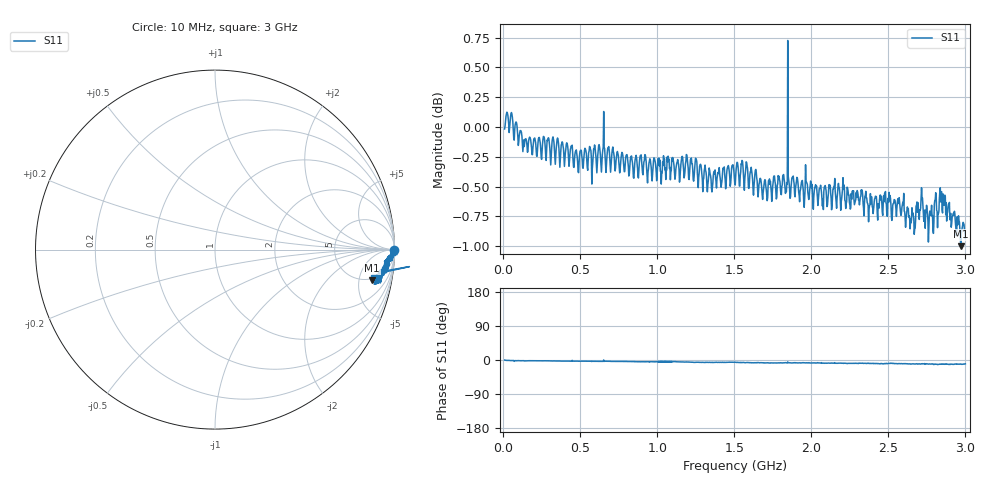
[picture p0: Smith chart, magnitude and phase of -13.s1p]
# HZ S RI R 50
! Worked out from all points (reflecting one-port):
!   1010 points, 10 MHz to 3 GHz, reference 50 ohm
!   lowest |S11| = -1.0 dB at 2.97 GHz (marker M1), VSWR 17.40, Z = 230 - j381 ohm
!   phase of S11 starts at -0 deg and turns -10 deg over the sweep
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1e7  0.9981 -0.00293
4.259663e7  0.9995 -0.0216
8.704658e7  1.004 -0.0334
1.433498e8  0.9874 -0.0409
3.863429e8  0.9837 -0.0485
7.597225e8  0.9581 -0.0623
9.019623e8  0.9592 -0.0781
1.133102e9  0.9661 -0.0753
1.296085e9  0.9341 -0.1003
1.506482e9  0.9403 -0.0989
1.740585e9  0.9308 -0.1227
1.829485e9  0.9353 -0.1182
1.832448e9  0.931 -0.1138
1.879861e9  0.9441 -0.1268
2.051734e9  0.9335 -0.1281
2.084331e9  0.9326 -0.1427
2.253241e9  0.9127 -0.1427
2.324361e9  0.9306 -0.1407
2.454747e9  0.9226 -0.153
2.519941e9  0.9059 -0.141
2.62662e9  0.9081 -0.1668
2.66218e9  0.9034 -0.1614
2.709594e9  0.9084 -0.1719
2.774787e9  0.9028 -0.1682
2.810347e9  0.9182 -0.1809
2.84887e9  0.9056 -0.1775
2.970367e9  0.8749 -0.1703
3e9  0.8844 -0.1561
